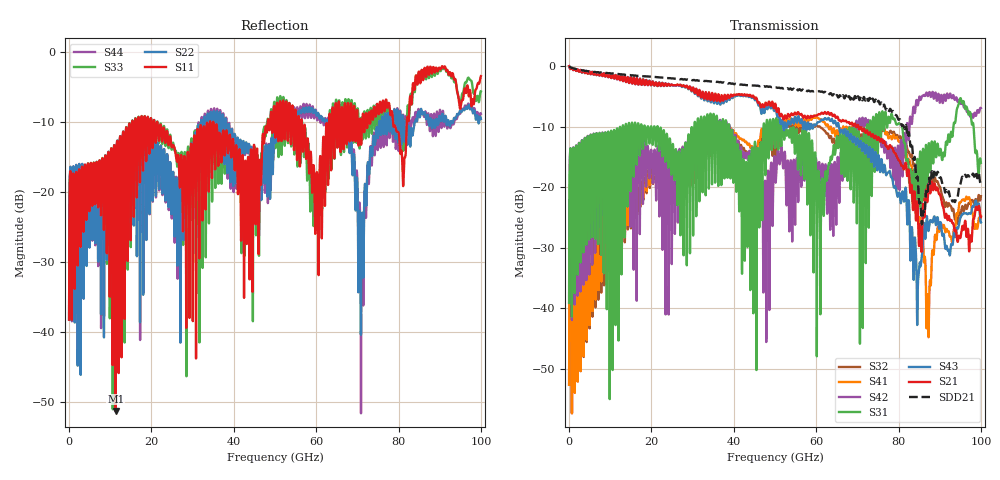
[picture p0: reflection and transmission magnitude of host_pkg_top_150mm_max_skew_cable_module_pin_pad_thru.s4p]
# Hz S RI R 50
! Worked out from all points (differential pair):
!   10000 points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, 10 MHz to 100 GHz, reference 50 ohm
!   strongest paths, dB at 10 MHz, 25.01 GHz, 50.01 GHz, 75.01 GHz, 100 GHz:
!     S21: 0.0, -3.1, -6.3, -11.9, -24.9
!     S43: 0.0, -3.1, -6.9, -15.1, -25.8
!     S31: -39.1, -14.7, -13.5, -13.7, -16.0
!     S42: -39.1, -23.6, -16.0, -11.7, -6.9
!     S41: -52.6, -16.1, -11.5, -9.7, -24.8
!     S32: -52.6, -17.2, -13.9, -10.0, -21.5
!   taken as a pair (ports 1,3 in; 2,4 out), SDD21 dB: 0.0, -2.1, -3.6, -5.8, -19.1
!   lowest |S11| = -51.4 dB at 11.31 GHz (marker M1), VSWR 1.01, Z = 49.8 + j0.205 ohm
!   |S11| at or under -10 dB: start of sweep to 15.31 GHz; 20.7 GHz to 34.21 GHz (13.51 GHz wide, 49.2 % of centre); 34.29 GHz to 48.26 GHz (13.97 GHz wide, 33.8 % of centre)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
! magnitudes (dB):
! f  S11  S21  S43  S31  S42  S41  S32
! 10 MHz  -38.3  0.0  0.0  -39.1  -39.1  -52.6  -52.6
! 11.31 GHz  -51.4  -1.5  -1.5  -32.7  -20.7  -28.0  -29.1
! 64.83 GHz  -7.6  -8.6  -9.6  -13.2  -25.1  -11.2  -13.0
! 71.14 GHz  -10.4  -10.6  -14.0  -13.8  -8.8  -9.7  -11.6
! 82.94 GHz  -6.6  -20.5  -31.5  -17.0  -8.6  -16.3  -15.0
! 87.12 GHz  -2.2  -21.6  -26.5  -17.3  -5.0  -39.7  -21.4
! 100 GHz  -3.5  -24.9  -25.8  -16.0  -6.9  -24.8  -21.5
